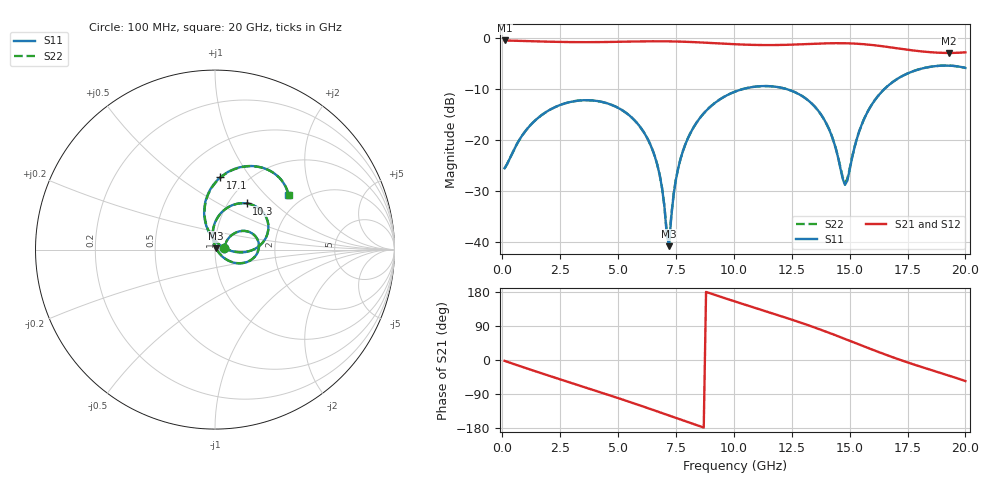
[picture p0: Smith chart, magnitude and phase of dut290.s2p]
! Touchstone file exported from HFSS 2026.1.0
!  File:  C:/ffzhzh/LocalFiles/Ansys_Project_Files/temp_train_TSV_RDL_290_1783087446_37948.aedt
!  Generated:  10:15:41 PM Jul  3, 2026
!  Design:  TSV_RDL
!  Project:  temp_train_TSV_RDL_290_1783087446_37948
! Variables:
!  h_bsmrdl = 4.02um
!  h_ox = 20um
!  h_rdl = 5um
!  h_sub = 73.02um
!  h_tmrdl = 2.18um
!  h_tsv = 73.02um
!  h_via = 3um
!  l_bsmrdl = 330.16um
!  l_sub = 5424.86um
!  l_tmrdl = 984.76um
!  m_sub = 200um
!  pitch = 30.87um
!  r_tsv = 14.7um
!  s_tmrdl = 10um
!  w_bsmrdl = 18.68um
!  w_sub = 500um
!  w_tmrdl = 13.1um
!  x_tsv_center1 = 991.31um
!  x_tsv_center2 = 1340.15um
!  x_tsv_center3 = 2338.01um
!  x_tsv_center4 = 2686.85um
!  x_tsv_center5 = 3684.71um
!  x_tsv_center6 = 4033.55um
# GHz S MA R 50.000000
! Terminal data exported
! Port[1] = TM_RDL1_1_T1
! Port[2] = TM_RDL5_1_T1
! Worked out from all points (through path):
!   200 points, 100 MHz to 20 GHz, reference 50 ohm
!   highest |S21| = -0.46 dB at 100 MHz (marker M1); lowest = -2.9 dB at 19.3 GHz (marker M2)
!   group delay of S21, straight-line fit = 57.9 ps
!   lowest |S11| = -40.8 dB at 7.2 GHz (marker M3), VSWR 1.02, Z = 50.6 + j0.707 ohm
!   |S11| at or under -10 dB: start of sweep to 10.39 GHz; 12.28 GHz to 16.5 GHz (4.218 GHz wide, 29.3 % of centre)
!   |S22| runs from -40.0 to -5.4 dB; largest |S21 - S12| = 1.6e-14
!   S11 on the Smith chart (normalised r, x): 100 MHz: 1.11, +0.02; 10.3 GHz: 1.21, +0.69; 17.1 GHz: 0.76, +0.73; 20 GHz: 1.67, +1.38
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0.1  0.05291 11.6  0.9485 -2.2  0.9485 -2.2  0.05291 11.6
! Gamma 0 0 0 0
! Port Impedance 50 0 50 0
1.5  0.1618 37.9  0.9286 -31.2  0.9286 -31.2  0.1618 37.9
3.5  0.2459 9.4  0.9126 -70.7  0.9126 -70.7  0.2459 9.5
5.6  0.1656 -27.4  0.9255 -112.6  0.9255 -112.6  0.1655 -27.1
6.3  0.1003 -39.2  0.9304 -127.3  0.9304 -127.3  0.1003 -38.7
6.8  0.04521 -43.3  0.9312 -137.9  0.9312 -137.9  0.04531 -42.2
7.2  0.00911 50.1  0.9295 -146.4  0.9295 -146.4  0.009997 48.5
7.3  0.01782 87.6  0.9287 -148.6  0.9287 -148.6  0.01835 85.1
7.5  0.04125 99.9  0.9267 -152.9  0.9267 -152.9  0.04152 98.7
8  0.1022 96.8  0.9192 -163.6  0.9192 -163.6  0.1024 96.3
8.9  0.2038 81.2  0.8988 177.6  0.8988 177.6  0.204 80.9
10.1  0.3015 59.1  0.8697 153.4  0.8697 153.4  0.3016 59.0
10.3  0.3122 55.5  0.8659 149.5  0.8659 149.5  0.3123 55.4
12  0.328 25.3  0.8567 116.6  0.8567 116.6  0.3281 25.3
13.4  0.2241 1.2  0.8789 87.7  0.8789 87.7  0.2243 1.4
14.2  0.1141 -6.6  0.8907 69.8  0.8907 69.8  0.1145 -5.9
14.8  0.03641 47.8  0.8907 55.6  0.8907 55.6  0.03808 48.0
15.6  0.1562 109.8  0.872 36.4  0.872 36.4  0.1568 109.0
16.7  0.3474 93.1  0.8159 10.8  0.8159 10.8  0.3478 92.7
17.1  0.4033 85.8  0.7922 2.1  0.7922 2.1  0.4037 85.4
19.3  0.5372 48.3  0.7155 -41.4  0.7155 -41.4  0.5374 47.9
20  0.5097 36.9  0.7255 -55.6  0.7255 -55.6  0.5098 36.5
